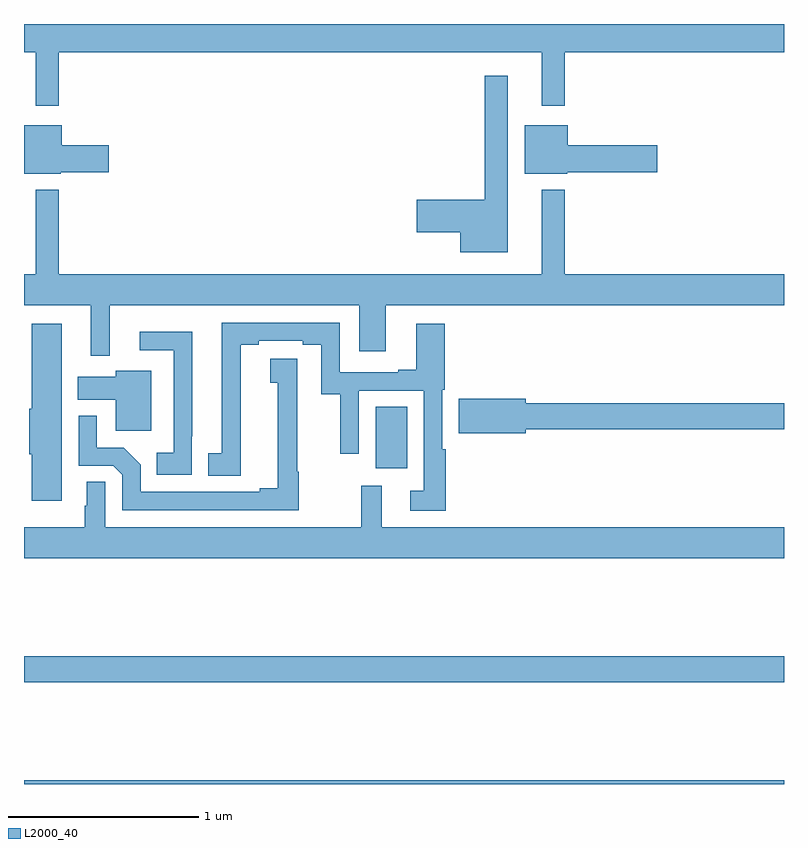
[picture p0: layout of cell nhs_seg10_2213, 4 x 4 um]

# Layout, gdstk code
import gdstk
lib = gdstk.Library(unit=1e-6, precision=1e-09)
def R(c, l, rs):  # rectangles x0, y0, x1, y1
    for r in rs: c.add(gdstk.rectangle(r[:2], r[2:], *l))
def P(c, l, *ps):  # polygons
    for p in ps: c.add(gdstk.Polygon(p, *l))
L2000_40 = (2000, 40)

nhs_seg10_2213 = lib.new_cell('nhs_seg10_2213')
R(nhs_seg10_2213, L2000_40, [(229,1260.5,233,1260.52), (229,1261.036,233,1261.172), (230.852,1262.163,231.016,1262.486)])
P(nhs_seg10_2213, L2000_40, [(229.183,1264.352),(231.725,1264.352),(231.725,1264.071),(231.847,1264.071),(231.847,1264.352),(233,1264.352),(233,1264.5),(229,1264.5),(229,1264.352),(229.061,1264.352),(229.061,1264.071),(229.183,1264.071)],
  [(231.547,1264.228),(231.426,1264.228),(231.426,1263.575),(231.066,1263.575),(231.066,1263.404),(231.296,1263.404),(231.296,1263.299),(231.547,1263.299)],
  [(231.858,1263.719),(232.333,1263.719),(232.333,1263.861),(231.862,1263.861),(231.862,1263.967),(231.635,1263.967),(231.635,1263.713),(231.858,1263.713)],
  [(229.194,1263.719),(229.447,1263.719),(229.447,1263.861),(229.198,1263.861),(229.198,1263.967),(229,1263.967),(229,1263.713),(229.194,1263.713)],
  [(229.45,1263.02),(230.765,1263.02),(230.765,1262.778),(230.905,1262.778),(230.905,1263.02),(233,1263.02),(233,1263.184),(231.847,1263.184),(231.847,1263.628),(231.725,1263.628),(231.725,1263.184),(229.183,1263.184),(229.183,1263.628),(229.061,1263.628),(229.061,1263.184),(229,1263.184),(229,1263.02),(229.352,1263.02),(229.352,1262.754),(229.45,1262.754)],
  [(231.221,1262.261),(231.201,1262.261),(231.201,1262.574),(231.215,1262.574),(231.215,1262.923),(231.065,1262.923),(231.065,1262.68),(230.969,1262.68),(230.969,1262.667),(230.661,1262.667),(230.661,1262.928),(230.042,1262.928),(230.042,1262.241),(229.969,1262.241),(229.969,1262.122),(230.141,1262.122),(230.141,1262.531),(230.14,1262.531),(230.14,1262.812),(230.236,1262.812),(230.236,1262.832),(230.468,1262.832),(230.468,1262.812),(230.565,1262.812),(230.565,1262.551),(230.665,1262.551),(230.665,1262.238),(230.763,1262.238),(230.763,1262.571),(231.105,1262.571),(231.105,1262.043),(231.033,1262.043),(231.033,1261.938),(231.221,1261.938)],
  [(229.198,1262.923),(229.04,1262.923),(229.04,1262.474),(229.028,1262.474),(229.028,1262.236),(229.04,1262.236),(229.04,1261.992),(229.198,1261.992)],
  [(229.884,1262.33),(229.885,1262.33),(229.885,1262.881),(229.608,1262.881),(229.608,1262.784),(229.788,1262.784),(229.788,1262.243),(229.699,1262.243),(229.699,1262.127),(229.884,1262.127)],
  [(230.447,1262.144),(230.437,1262.144),(230.437,1262.737),(230.297,1262.737),(230.297,1262.612),(230.336,1262.612),(230.336,1262.057),(230.24,1262.057),(230.24,1262.037),(229.614,1262.037),(229.614,1262.181),(229.524,1262.271),(229.383,1262.271),(229.383,1262.437),(229.287,1262.437),(229.287,1262.175),(229.47,1262.175),(229.518,1262.127),(229.518,1261.941),(230.447,1261.941)],
  [(229.669,1262.674),(229.484,1262.674),(229.484,1262.644),(229.283,1262.644),(229.283,1262.522),(229.484,1262.522),(229.484,1262.36),(229.669,1262.36)],
  [(231.64,1262.368),(233,1262.368),(233,1262.504),(231.64,1262.504),(231.64,1262.528),(231.288,1262.528),(231.288,1262.345),(231.64,1262.345)],
  [(233,1261.852),(230.884,1261.852),(230.884,1262.071),(230.775,1262.071),(230.775,1261.852),(229.428,1261.852),(229.428,1262.09),(229.331,1262.09),(229.331,1261.965),(229.32,1261.965),(229.32,1261.852),(229,1261.852),(229,1261.688),(233,1261.688)])

lib.write_gds('nhs_seg10_2213.gds')
